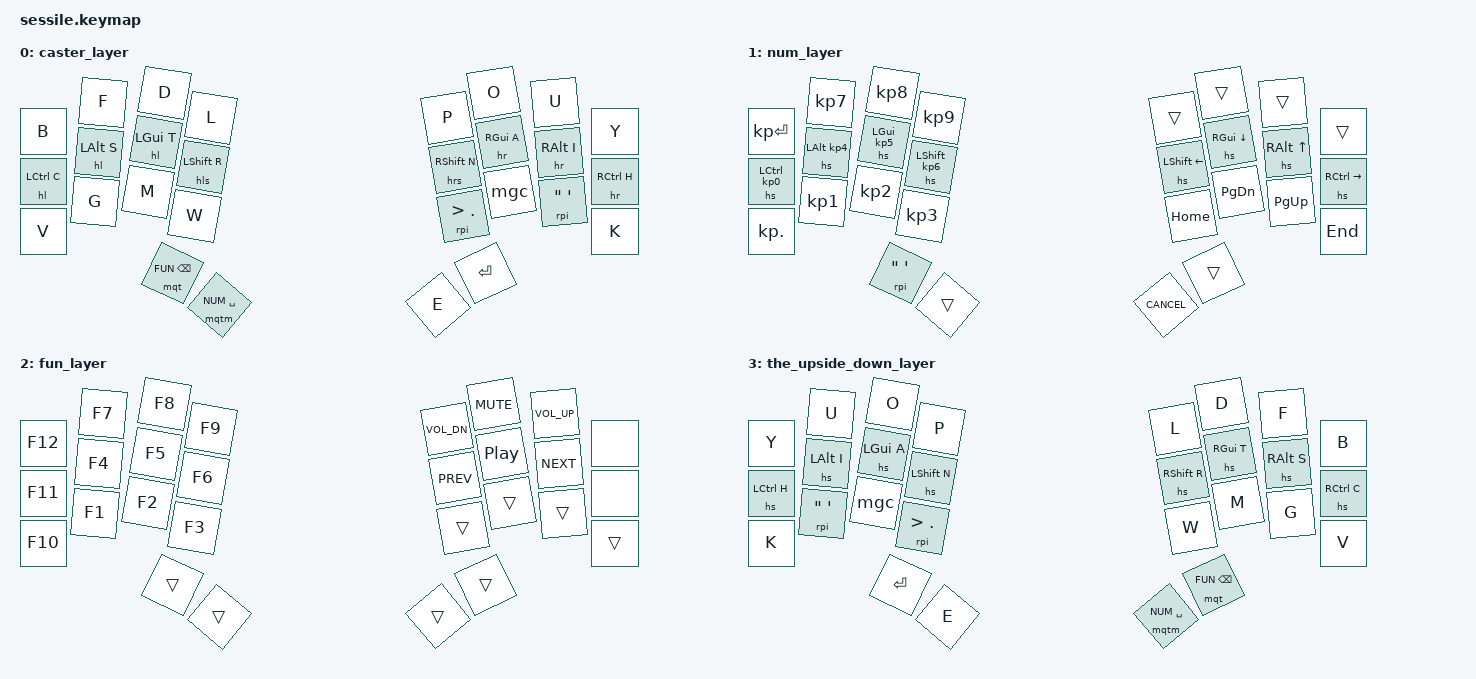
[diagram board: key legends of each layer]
/*
* Copyright (c) 2020 The ZMK Contributors
*
* SPDX-License-Identifier: MIT
*/

#define NUM 1
#define FUN 2
#define USD 3

#include <behaviors.dtsi>
#include <dt-bindings/zmk/keys.h>
#include <dt-bindings/zmk/bt.h>
#include <dt-bindings/zmk/outputs.h>
#include "28.h"
#include "zmk-helpers/helper.h"
#include <behaviors/num_word.dtsi>
#include "taps.dtsi"
#include "combos.dtsi"
#include "magic.dtsi"

&num_word {
  continue-list = <BSPC DEL DOT COMMA PLUS MINUS STAR FSLH EQUAL KP_PLUS KP_MINUS KP_MULTIPLY KP_DIVIDE KP_DOT SQT DQT>;  // do not continue on PLUS, MINUS, STAR, FSLH, EQUAL
};

/ {
	keymap {
		compatible = "zmk,keymap";
		caster_layer {
			bindings = <
			&kp B		 &kp F     		&kp D     	     &kp L       		&kp P     	 &kp O  	   &kp U  	   &kp Y  	
			&hl LCTRL C  &hl LALT S 	&hl LGUI T  	 &hls LSHFT R       &hrs RSHFT N &hr RGUI A    &hr RALT I  &hr RCTRL H
			&kp V		 &kp G 			&kp M     		 &kp W      		&rpi GT DOT  &mgc 		   &rpi DQT SQT &kp K  		 
										&mqt FUN BSPC    &mqtm NUM SPACE    &kp E        &kp RET   
			>;
		};
		num_layer {
			bindings = < 
			&kp KP_ENTER    &kp KP_N7      &kp KP_N8      &kp KP_N9          &trans  		 &trans		   &trans 	    &trans
			&hs LCTRL KP_N0 &hs LALT KP_N4 &hs LGUI KP_N5 &hs LSHFT KP_N6   &hs LSHFT LEFT &hs RGUI DOWN &hs RALT UP  &hs RCTRL RIGHT
			&kp KP_DOT      &kp KP_N1      &kp KP_N2      &kp KP_N3          &kp HOME  		 &kp PG_DN     &kp PG_UP    &kp END
										   &rpi DQT SQT   &trans             &kp K_CANCEL    &trans 			    
			>;
		};
		fun_layer {
			bindings = <
			&kp F12  &kp F7	 &kp F8	 &kp F9    &kp C_VOL_DN		&kp C_MUTE 	  &kp C_VOL_UP    &none		
			&kp F11  &kp F4  &kp F5  &kp F6    &kp C_PREV   	&kp C_PP 	  &kp C_NEXT 	  &none
			&kp F10	 &kp F1  &kp F2  &kp F3    &trans  			&trans		  &trans 		  &trans
							 &trans  &trans    &trans   		&trans
			>;
		};
		the_upside_down_layer {
			bindings = <
			&kp Y		 &kp U     		&kp O     	     &kp P       		&kp L     	 &kp D  	   &kp F  	   &kp B  	
			&hs LCTRL H  &hs LALT I 	&hs LGUI A  	 &hs LSHFT N        &hs RSHFT R  &hs RGUI T    &hs RALT S  &hs RCTRL C
			&kp K  	     &rpi DQT SQT   &mgc  	 	     &rpi GT DOT 	    &kp W      	 &kp M  	   &kp G 	   &kp V		 		   		 	 
										&kp RET  		 &kp E     			&mqtm NUM SPACE &mqt FUN BSPC           
			>;
		};
	};
};
